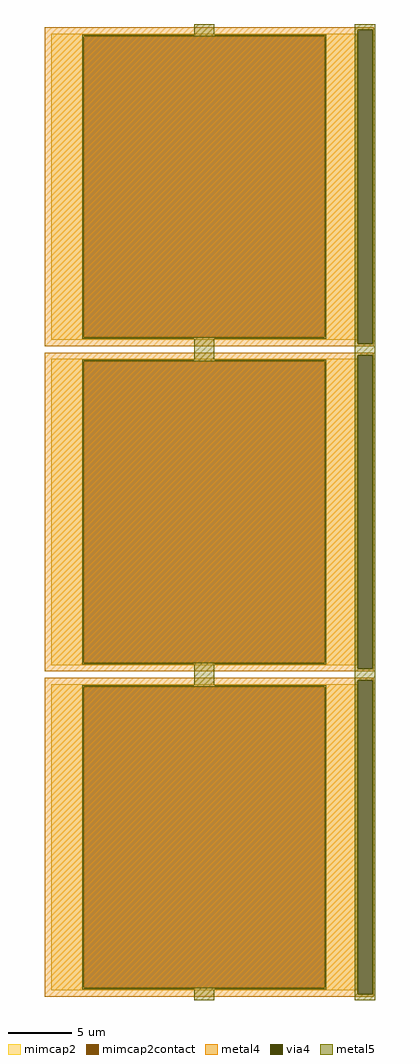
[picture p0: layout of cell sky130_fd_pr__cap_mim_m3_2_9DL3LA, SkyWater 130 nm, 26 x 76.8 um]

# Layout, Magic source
magic
tech sky130A
magscale 1 2
<< metal4 >>
rect -2589 7589 2589 7630
rect -2589 2651 2333 7589
rect 2569 2651 2589 7589
rect -2589 2610 2589 2651
rect -2589 2469 2589 2510
rect -2589 -2469 2333 2469
rect 2569 -2469 2589 2469
rect -2589 -2510 2589 -2469
rect -2589 -2651 2589 -2610
rect -2589 -7589 2333 -2651
rect 2569 -7589 2589 -2651
rect -2589 -7630 2589 -7589
<< via4 >>
rect 2333 2651 2569 7589
rect 2333 -2469 2569 2469
rect 2333 -7589 2569 -2651
<< mimcap2 >>
rect -2489 7490 2331 7530
rect -2489 2750 -1975 7490
rect 1817 2750 2331 7490
rect -2489 2710 2331 2750
rect -2489 2370 2331 2410
rect -2489 -2370 -1975 2370
rect 1817 -2370 2331 2370
rect -2489 -2410 2331 -2370
rect -2489 -2750 2331 -2710
rect -2489 -7490 -1975 -2750
rect 1817 -7490 2331 -2750
rect -2489 -7530 2331 -7490
<< mimcap2contact >>
rect -1975 2750 1817 7490
rect -1975 -2370 1817 2370
rect -1975 -7490 1817 -2750
<< metal5 >>
rect -239 7514 81 7680
rect 2291 7589 2611 7680
rect -1999 7490 1841 7514
rect -1999 2750 -1975 7490
rect 1817 2750 1841 7490
rect -1999 2726 1841 2750
rect -239 2394 81 2726
rect 2291 2651 2333 7589
rect 2569 2651 2611 7589
rect 2291 2469 2611 2651
rect -1999 2370 1841 2394
rect -1999 -2370 -1975 2370
rect 1817 -2370 1841 2370
rect -1999 -2394 1841 -2370
rect -239 -2726 81 -2394
rect 2291 -2469 2333 2469
rect 2569 -2469 2611 2469
rect 2291 -2651 2611 -2469
rect -1999 -2750 1841 -2726
rect -1999 -7490 -1975 -2750
rect 1817 -7490 1841 -2750
rect -1999 -7514 1841 -7490
rect -239 -7680 81 -7514
rect 2291 -7589 2333 -2651
rect 2569 -7589 2611 -2651
rect 2291 -7680 2611 -7589
<< properties >>
string gencell sky130_fd_pr__cap_mim_m3_2
string FIXED_BBOX -2589 2610 2431 7630
string parameters w 24.1 l 24.1 val 1.179k carea 2.00 cperi 0.19 nx 1 ny 3 dummy 0 square 0 lmin 2.00 wmin 2.00 lmax 30.0 wmax 30.0 dc 0 bconnect 1 tconnect 1 ccov 80
string library sky130
<< end >>
